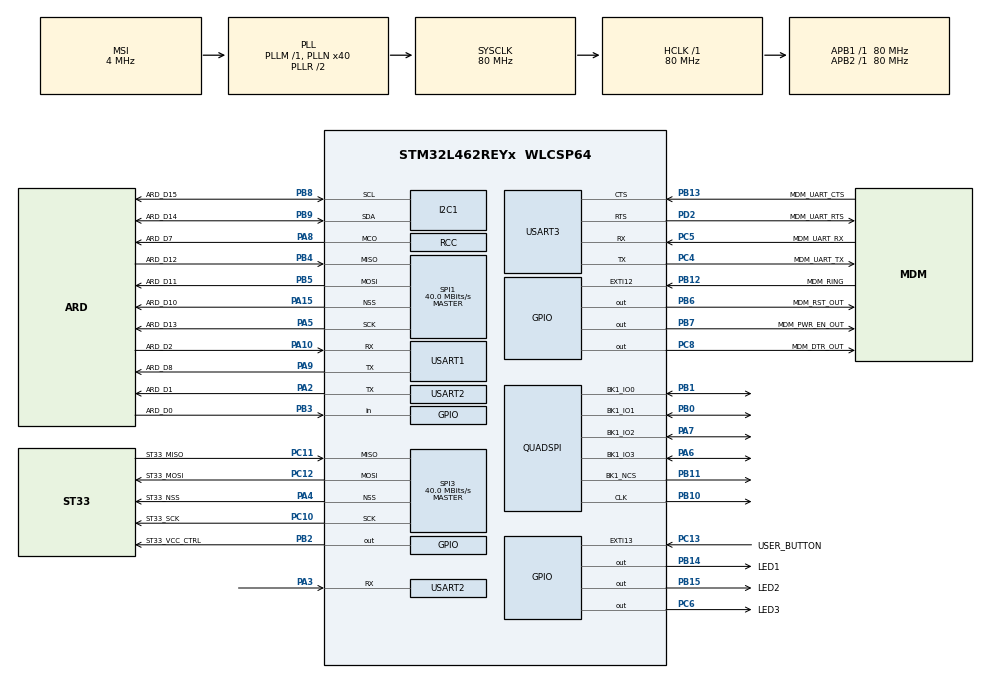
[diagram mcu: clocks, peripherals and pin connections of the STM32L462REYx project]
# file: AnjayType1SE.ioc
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AVSystem.I-CUBE-Anjay.2.13.0.ANJAY_WITH_COAP_OSCORE=false
AVSystem.I-CUBE-Anjay.2.13.0.ANJAY_WITH_LWM2M11=false
AVSystem.I-CUBE-Anjay.2.13.0.ANJAY_WITH_LWM2M_JSON=false
AVSystem.I-CUBE-Anjay.2.13.0.ANJAY_WITH_NET_STATS=false
AVSystem.I-CUBE-Anjay.2.13.0.ANJAY_WITH_SEND=false
AVSystem.I-CUBE-Anjay.2.13.0.ANJAY_WITH_SMS=false
AVSystem.I-CUBE-Anjay.2.13.0.StackCcLwM2MJjAnjay=true
AVSystem.I-CUBE-Anjay.2.13.0.StackCcLwM2MJjLwIP=true
AVSystem.I-CUBE-Anjay.2.13.0.StackCcLwM2MJjXAaCUBEAaCELLULAR=true
AVSystem.I-CUBE-Anjay.2.13.0.StackCcLwM2MJjmbedtls=true
AVSystem.I-CUBE-Anjay.2.13.0.XAaCUBEAaCELLULARCcSTM32IiCellularJjCore=true
AVSystem.I-CUBE-Anjay.2.13.0.XAaCUBEAaCELLULARCcSTM32IiCellularJjMODEM=TYPE1SC
AVSystem.I-CUBE-Anjay.2.13.0.XAaCUBEAaCELLULAROoModemOosupportCcDeviceJjMODEM=TYPE1SC
FREERTOS.Tasks01=keepAliveTask,0,256,StartDefaultTask,Default,NULL,Dynamic,NULL,NULL
FREERTOS.configMINIMAL_STACK_SIZE=256
FREERTOS.configTOTAL_HEAP_SIZE=18432
FREERTOS.configUSE_COUNTING_SEMAPHORES=1
FREERTOS.configUSE_NEWLIB_REENTRANT=1
I2C1.Timing=0x10909CEC
Mcu.Family=STM32L4
Mcu.Name=STM32L462REYx
Mcu.Package=WLCSP64
NVIC.EXTI15_10_IRQn=true\:5\:0\:false\:false\:true\:true\:true\:true\:true
NVIC.PriorityGroup=NVIC_PRIORITYGROUP_4
NVIC.QUADSPI_IRQn=true\:5\:0\:false\:false\:true\:true\:true\:true\:true
NVIC.TIM6_DAC_IRQn=true\:15\:0\:false\:false\:true\:false\:false\:true\:true
NVIC.TimeBase=TIM6_DAC_IRQn
NVIC.TimeBaseIP=TIM6
NVIC.USART1_IRQn=true\:5\:0\:false\:false\:true\:true\:true\:true\:true
NVIC.USART2_IRQn=true\:5\:0\:false\:false\:true\:true\:true\:true\:true
NVIC.USART3_IRQn=true\:5\:0\:false\:false\:true\:true\:true\:true\:true
PA0.GPIO_Label=ARD_A0
PA0.Signal=USART2_CTS
PA1.GPIO_Label=ARD_A1
PA1.Signal=USART2_RTS
PA10.GPIO_Label=ARD_D2
PA10.Mode=Asynchronous
PA10.Signal=USART1_RX
PA13\ (JTMS/SWDIO).Signal=SYS_JTMS-SWDIO
PA14\ (JTCK/SWCLK).Signal=SYS_JTCK-SWCLK
PA15\ (JTDI).GPIO_Label=ARD_D10
PA15\ (JTDI).Mode=NSS_Signal_Hard_Output
PA15\ (JTDI).Signal=SPI1_NSS
PA2.GPIO_Label=ARD_D1
PA2.Mode=Asynchronous
PA2.Signal=USART2_TX
PA3.Mode=Asynchronous
PA3.Signal=USART2_RX
PA4.GPIO_Label=ST33_NSS
PA4.Mode=NSS_Signal_Hard_Output
PA4.Signal=SPI3_NSS
PA5.GPIO_Label=ARD_D13
PA5.Mode=Full_Duplex_Master
PA5.Signal=SPI1_SCK
PA6.Mode=Single Bank 1
PA6.Signal=QUADSPI_BK1_IO3
PA7.Mode=Single Bank 1
PA7.Signal=QUADSPI_BK1_IO2
PA8.GPIO_Label=ARD_D7
PA8.Mode=Clock-out
PA8.Signal=RCC_MCO
PA9.GPIO_Label=ARD_D8
PA9.Mode=Asynchronous
PA9.Signal=USART1_TX
PB0.Mode=Single Bank 1
PB0.Signal=QUADSPI_BK1_IO1
PB1.Mode=Single Bank 1
PB1.Signal=QUADSPI_BK1_IO0
PB10.Mode=Single Bank 1
PB10.Signal=QUADSPI_CLK
PB11.Mode=Single Bank 1
PB11.Signal=QUADSPI_BK1_NCS
PB12.GPIO_Label=MDM_RING
PB12.Signal=GPXTI12
PB13.GPIO_Label=MDM_UART_CTS
PB13.Mode=CTS_RTS
PB13.Signal=USART3_CTS
PB14.GPIO_Label=LED1
PB14.Signal=GPIO_Output
PB15.GPIO_Label=LED2
PB15.Signal=GPIO_Output
PB2.GPIO_Label=ST33_VCC_CTRL
PB2.Signal=GPIO_Output
PB3\ (JTDO/TRACESWO).GPIO_Label=ARD_D0
PB3\ (JTDO/TRACESWO).Signal=GPIO_Input
PB4\ (NJTRST).GPIO_Label=ARD_D12
PB4\ (NJTRST).Mode=Full_Duplex_Master
PB4\ (NJTRST).Signal=SPI1_MISO
PB5.GPIO_Label=ARD_D11
PB5.Mode=Full_Duplex_Master
PB5.Signal=SPI1_MOSI
PB6.GPIO_Label=MDM_RST_OUT
PB6.Signal=GPIO_Output
PB7.GPIO_Label=MDM_PWR_EN_OUT
PB7.Signal=GPIO_Output
PB8.GPIO_Label=ARD_D15
PB8.Mode=I2C
PB8.Signal=I2C1_SCL
PB9.GPIO_Label=ARD_D14
PB9.Mode=I2C
PB9.Signal=I2C1_SDA
PC10.GPIO_Label=ST33_SCK
PC10.Mode=Full_Duplex_Master
PC10.Signal=SPI3_SCK
PC11.GPIO_Label=ST33_MISO
PC11.Mode=Full_Duplex_Master
PC11.Signal=SPI3_MISO
PC12.GPIO_Label=ST33_MOSI
PC12.Mode=Full_Duplex_Master
PC12.Signal=SPI3_MOSI
PC13.GPIO_Label=USER_BUTTON
PC13.Signal=GPXTI13
PC14-OSC32_IN\ (PC14).Mode=LSE-External-Oscillator
PC14-OSC32_IN\ (PC14).Signal=RCC_OSC32_IN
PC15-OSC32_OUT\ (PC15).Mode=LSE-External-Oscillator
PC15-OSC32_OUT\ (PC15).Signal=RCC_OSC32_OUT
PC4.GPIO_Label=MDM_UART_TX
PC4.Mode=Asynchronous
PC4.Signal=USART3_TX
PC5.GPIO_Label=MDM_UART_RX
PC5.Mode=Asynchronous
PC5.Signal=USART3_RX
PC6.GPIO_Label=LED3
PC6.Signal=GPIO_Output
PC8.GPIO_Label=MDM_DTR_OUT
PC8.Signal=GPIO_Output
PD2.GPIO_Label=MDM_UART_RTS
PD2.Mode=CTS_RTS
PD2.Signal=USART3_RTS
PH0-OSC_IN\ (PH0).Mode=HSE-External-Oscillator
PH0-OSC_IN\ (PH0).Signal=RCC_OSC_IN
PH1-OSC_OUT\ (PH1).Mode=HSE-External-Oscillator
PH1-OSC_OUT\ (PH1).Signal=RCC_OSC_OUT
ProjectManager.HeapSize=0x200
ProjectManager.StackSize=0x400
ProjectManager.TargetToolchain=STM32CubeIDE
RCC.ADCFreq_Value=16000000
RCC.AHBFreq_Value=80000000
RCC.APB1Freq_Value=80000000
RCC.APB1TimFreq_Value=80000000
RCC.APB2Freq_Value=80000000
RCC.APB2TimFreq_Value=80000000
RCC.CortexFreq_Value=80000000
RCC.HCLKFreq_Value=80000000
RCC.HSE_VALUE=8000000
RCC.HSI48_VALUE=48000000
RCC.HSI_VALUE=16000000
RCC.MSI_VALUE=4000000
RCC.PLLN=40
RCC.SYSCLKFreq_VALUE=80000000
RCC.SYSCLKSource=RCC_SYSCLKSOURCE_PLLCLK
RCC.USBFreq_Value=16000000
RCC.VCOOutputFreq_Value=160000000
SPI1.CalculateBaudRate=40.0 MBits/s
SPI1.Direction=SPI_DIRECTION_2LINES
SPI1.Mode=SPI_MODE_MASTER
SPI1.VirtualNSS=VM_NSSHARD
SPI1.VirtualType=VM_MASTER
SPI3.CalculateBaudRate=40.0 MBits/s
SPI3.Direction=SPI_DIRECTION_2LINES
SPI3.Mode=SPI_MODE_MASTER
SPI3.VirtualNSS=VM_NSSHARD
SPI3.VirtualType=VM_MASTER
USART1.VirtualMode-Asynchronous=VM_ASYNC
USART2.VirtualMode-Asynchronous=VM_ASYNC
USART3.VirtualMode-Asynchronous=VM_ASYNC
VP_AES_VS_AES.Mode=AES_Activate
VP_AVSystem.I-CUBE-Anjay_VS_LwM2MJjStack_2.13.0_2.13.0.Mode=LwM2MJjStack
VP_AVSystem.I-CUBE-Anjay_VS_STM32IiCellularJjXAaCUBEAaCELLULAR_7.0.0_2.13.0.Mode=STM32IiCellularJjXAaCUBEAaCELLULAR
VP_FREERTOS_VS_CMSIS_V1.Mode=CMSIS_V1
VP_RNG_VS_RNG.Mode=RNG_Activate
VP_SYS_VS_tim6.Mode=TIM6
board=custom

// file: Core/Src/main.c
/* USER CODE BEGIN Header */
/**
  ******************************************************************************
  * @file           : main.c
  * @brief          : Main program body
  ******************************************************************************
  * @attention
  *
  * Copyright (c) 2022 STMicroelectronics.
  * All rights reserved.
  *
  * This software is licensed under terms that can be found in the LICENSE file
  * in the root directory of this software component.
  * If no LICENSE file comes with this software, it is provided AS-IS.
  *
  ******************************************************************************
  */
/* USER CODE END Header */
#include "main.h"
#include "cmsis_os.h"
#include "aes.h"
#include "i2c.h"
#include "quadspi.h"
#include "rng.h"
#include "spi.h"
#include "usart.h"
#include "gpio.h"

/* USER CODE BEGIN Includes */
#include "flash_if.h"
/* USER CODE END Includes */

void SystemClock_Config(void);
void MX_FREERTOS_Init(void);

int main(void)
{

  /* MCU Configuration--------------------------------------------------------*/

  /* Reset of all peripherals, Initializes the Flash interface and the Systick. */
  HAL_Init();

  /* USER CODE BEGIN Init */
  /* Reset the RCC clock configuration to the default reset state ------------*/
  /* Set MSION bit */
  RCC->CR |= RCC_CR_MSION;

  /* Reset CFGR register */
  RCC->CFGR = 0x00000000U;

  /* Reset HSEON, CSSON , HSION, and PLLON bits */
  RCC->CR &= 0xEAF6FFFFU;

  /* Reset PLLCFGR register */
  RCC->PLLCFGR = 0x00001000U;

  /* Reset HSEBYP bit */
  RCC->CR &= 0xFFFBFFFFU;

  /* Disable all interrupts */
  RCC->CIER = 0x00000000U;
  /* USER CODE END Init */

  /* Configure the system clock */
  SystemClock_Config();

  /* Initialize all configured peripherals */
  MX_GPIO_Init();
  MX_USART1_UART_Init();
  MX_RNG_Init();
  MX_USART3_UART_Init();
  MX_SPI1_Init();
  MX_SPI3_Init();
  MX_AES_Init();
  MX_USART2_UART_Init();
  MX_I2C1_Init();
  MX_QUADSPI_Init();
  /* USER CODE BEGIN 2 */
  FLASH_If_Init();
  /* USER CODE END 2 */

  /* Call init function for freertos objects (in freertos.c) */
  MX_FREERTOS_Init();

  /* Start scheduler */
  osKernelStart();

  /* We should never get here as control is now taken by the scheduler */
  /* Infinite loop */
  while (1)
  {

  }
}

void SystemClock_Config(void)
{
  RCC_OscInitTypeDef RCC_OscInitStruct = {0};
  RCC_ClkInitTypeDef RCC_ClkInitStruct = {0};

  /** Configure the main internal regulator output voltage
  */
  if (HAL_PWREx_ControlVoltageScaling(PWR_REGULATOR_VOLTAGE_SCALE1) != HAL_OK)
  {
    Error_Handler();
  }

  /** Configure LSE Drive Capability
  */
  HAL_PWR_EnableBkUpAccess();
  __HAL_RCC_LSEDRIVE_CONFIG(RCC_LSEDRIVE_LOW);

  /** Initializes the RCC Oscillators according to the specified parameters
  * in the RCC_OscInitTypeDef structure.
  */
  RCC_OscInitStruct.OscillatorType = RCC_OSCILLATORTYPE_LSE|RCC_OSCILLATORTYPE_MSI;
  RCC_OscInitStruct.LSEState = RCC_LSE_ON;
  RCC_OscInitStruct.MSIState = RCC_MSI_ON;
  RCC_OscInitStruct.MSICalibrationValue = 0;
  RCC_OscInitStruct.MSIClockRange = RCC_MSIRANGE_6;
  RCC_OscInitStruct.PLL.PLLState = RCC_PLL_ON;
  RCC_OscInitStruct.PLL.PLLSource = RCC_PLLSOURCE_MSI;
  RCC_OscInitStruct.PLL.PLLM = 1;
  RCC_OscInitStruct.PLL.PLLN = 40;
  RCC_OscInitStruct.PLL.PLLP = RCC_PLLP_DIV7;
  RCC_OscInitStruct.PLL.PLLQ = RCC_PLLQ_DIV2;
  RCC_OscInitStruct.PLL.PLLR = RCC_PLLR_DIV2;
  if (HAL_RCC_OscConfig(&RCC_OscInitStruct) != HAL_OK)
  {
    Error_Handler();
  }

  /** Initializes the CPU, AHB and APB buses clocks
  */
  RCC_ClkInitStruct.ClockType = RCC_CLOCKTYPE_HCLK|RCC_CLOCKTYPE_SYSCLK
                              |RCC_CLOCKTYPE_PCLK1|RCC_CLOCKTYPE_PCLK2;
  RCC_ClkInitStruct.SYSCLKSource = RCC_SYSCLKSOURCE_PLLCLK;
  RCC_ClkInitStruct.AHBCLKDivider = RCC_SYSCLK_DIV1;
  RCC_ClkInitStruct.APB1CLKDivider = RCC_HCLK_DIV1;
  RCC_ClkInitStruct.APB2CLKDivider = RCC_HCLK_DIV1;

  if (HAL_RCC_ClockConfig(&RCC_ClkInitStruct, FLASH_LATENCY_4) != HAL_OK)
  {
    Error_Handler();
  }
  HAL_RCC_MCOConfig(RCC_MCO1, RCC_MCO1SOURCE_SYSCLK, RCC_MCODIV_1);

  /** Enable MSI Auto calibration
  */
  HAL_RCCEx_EnableMSIPLLMode();
}

void HAL_TIM_PeriodElapsedCallback(TIM_HandleTypeDef *htim)
{
  if (htim->Instance == TIM6) {
    HAL_IncTick();
  }
}

void Error_Handler(void)
{
  __disable_irq();
  while (1)
  {
  }
}

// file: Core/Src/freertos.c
/* USER CODE BEGIN Header */
/**
  ******************************************************************************
  * File Name          : freertos.c
  * Description        : Code for freertos applications
  ******************************************************************************
  * @attention
  *
  * Copyright (c) 2022 STMicroelectronics.
  * All rights reserved.
  *
  * This software is licensed under terms that can be found in the LICENSE file
  * in the root directory of this software component.
  * If no LICENSE file comes with this software, it is provided AS-IS.
  *
  ******************************************************************************
  */
/* USER CODE END Header */

#include "FreeRTOS.h"
#include "task.h"
#include "main.h"
#include "cmsis_os.h"

/* USER CODE BEGIN Includes */
#include <anjay/anjay.h>
#include <anjay/attr_storage.h>
#include <anjay/security.h>
#include <anjay/server.h>

#include <avsystem/commons/avs_log.h>

#include "trace_interface.h"

#include "lwm2m.h"

#include "firmware_update.h"

#include "stdio.h"
/* USER CODE END Includes */

/* USER CODE BEGIN PD */
#define IWDG_KEY_RELOAD 0x0000AAAAu
/* USER CODE END PD */

osThreadId keepAliveTaskHandle;

/* USER CODE BEGIN FunctionPrototypes */
static void
log_handler(avs_log_level_t level, const char *module, const char *message) {
    traceIF_uartPrintForce(DBG_CHAN_APPLICATION, (uint8_t *) message,
                           strlen(message));
    traceIF_uartPrintForce(DBG_CHAN_APPLICATION, (uint8_t *) "\r\n", 2);
}

static void maybe_reboot_for_upgrade(avs_sched_t *sched, const void *data) {
    (void) data;

    if (fw_update_requested()) {
        fw_update_reboot();
        return;
    } else {
        avs_time_real_t now = avs_time_real_now();
        avs_time_real_t next_full_second = {
            .since_real_epoch = {
                .seconds = now.since_real_epoch.seconds + 1,
                .nanoseconds = 0
            }
        };
        AVS_SCHED_DELAYED(sched, NULL, avs_time_real_diff(next_full_second, now),
                          maybe_reboot_for_upgrade, NULL, NULL);
    }
}

static int setup_firmware_update_object(anjay_t *anjay) {
    if (fw_update_install(anjay)) {
        return -1;
    }

    avs_time_real_t now = avs_time_real_now();
    avs_time_real_t next_full_second = {
        .since_real_epoch = {
            .seconds = now.since_real_epoch.seconds + 1,
            .nanoseconds = 0
        }
    };

    AVS_SCHED_DELAYED(anjay_get_scheduler(anjay), NULL, avs_time_real_diff(next_full_second, now),
                      maybe_reboot_for_upgrade, NULL, NULL);

    return 0;
}
/* USER CODE END FunctionPrototypes */

void StartDefaultTask(void const * argument);

void MX_FREERTOS_Init(void); /* (MISRA C 2004 rule 8.1) */

/* GetIdleTaskMemory prototype (linked to static allocation support) */
void vApplicationGetIdleTaskMemory( StaticTask_t **ppxIdleTaskTCBBuffer, StackType_t **ppxIdleTaskStackBuffer, uint32_t *pulIdleTaskStackSize );

/* USER CODE BEGIN GET_IDLE_TASK_MEMORY */
static StaticTask_t xIdleTaskTCBBuffer;
static StackType_t xIdleStack[configMINIMAL_STACK_SIZE];

void vApplicationGetIdleTaskMemory( StaticTask_t **ppxIdleTaskTCBBuffer, StackType_t **ppxIdleTaskStackBuffer, uint32_t *pulIdleTaskStackSize )
{
  *ppxIdleTaskTCBBuffer = &xIdleTaskTCBBuffer;
  *ppxIdleTaskStackBuffer = &xIdleStack[0];
  *pulIdleTaskStackSize = configMINIMAL_STACK_SIZE;
  /* place for user code */
}
/* USER CODE END GET_IDLE_TASK_MEMORY */

void MX_FREERTOS_Init(void) {
  /* USER CODE BEGIN Init */
  avs_log_set_handler(log_handler);
  srand(osKernelSysTick());

  /* USER CODE END Init */

  /* Create the thread(s) */
  /* definition and creation of keepAliveTask */
  osThreadDef(keepAliveTask, StartDefaultTask, osPriorityNormal, 0, 256);
  keepAliveTaskHandle = osThreadCreate(osThread(keepAliveTask), NULL);

  /* USER CODE BEGIN RTOS_THREADS */
  cellular_init();
  anjay_t *anjay = lwm2m_init();
  setup_firmware_update_object(anjay);

  cellular_start();
  lwm2m_start();
  /* USER CODE END RTOS_THREADS */

}

void StartDefaultTask(void const * argument)
{
  /* USER CODE BEGIN StartDefaultTask */
  /* Infinite loop */
  for(;;)
  {
    WRITE_REG(IWDG->KR, IWDG_KEY_RELOAD);
    HAL_GPIO_TogglePin(LED2_GPIO_Port, LED2_Pin);
    osDelay(2000);
  }
  /* USER CODE END StartDefaultTask */
}
